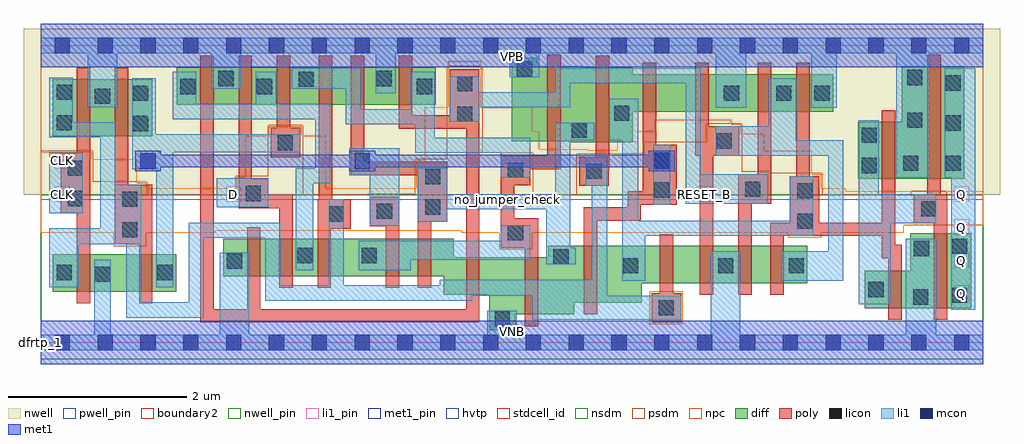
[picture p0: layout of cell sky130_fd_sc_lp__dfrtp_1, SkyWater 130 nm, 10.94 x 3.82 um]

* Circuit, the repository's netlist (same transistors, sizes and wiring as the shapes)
* Copyright 2020 The SkyWater PDK Authors
*
* Licensed under the Apache License, Version 2.0 (the "License");
* you may not use this file except in compliance with the License.
* You may obtain a copy of the License at
*
*     https://www.apache.org/licenses/LICENSE-2.0
*
* Unless required by applicable law or agreed to in writing, software
* distributed under the License is distributed on an "AS IS" BASIS,
* WITHOUT WARRANTIES OR CONDITIONS OF ANY KIND, either express or implied.
* See the License for the specific language governing permissions and
* limitations under the License.
*
* SPDX-License-Identifier: Apache-2.0

.SUBCKT sky130_fd_sc_lp__dfrtp_1 CLK D RESET_B VGND VNB VPB VPWR Q
*.PININFO CLK:I D:I RESET_B:I VGND:I VNB:I VPB:I VPWR:I Q:O
MI46 clkpos clkneg VGND VNB sky130_fd_pr__nfet_01v8 m=1 w=0.42U l=0.15U mult=1
+ sa=0.265 sb=0.265 sd=0.28 area=0.063 perim=1.14
MI42 db clkneg M0 VNB sky130_fd_pr__nfet_01v8 m=1 w=0.42U l=0.15U mult=1 sa=0.265
+ sb=0.265 sd=0.28 area=0.063 perim=1.14
MI656 net86 s0 net116 VNB sky130_fd_pr__nfet_01v8 m=1 w=0.42U l=0.15U mult=1 sa=0.265
+ sb=0.265 sd=0.28 area=0.063 perim=1.14
MI657 net116 RESET_B VGND VNB sky130_fd_pr__nfet_01v8 m=1 w=0.42U l=0.15U mult=1
+ sa=0.265 sb=0.265 sd=0.28 area=0.063 perim=1.14
MI33 net109 RESET_B VGND VNB sky130_fd_pr__nfet_01v8 m=1 w=0.42U l=0.15U mult=1
+ sa=0.265 sb=0.265 sd=0.28 area=0.063 perim=1.14
MI4 M0 clkpos net101 VNB sky130_fd_pr__nfet_01v8 m=1 w=0.42U l=0.15U mult=1 sa=0.265
+ sb=0.265 sd=0.28 area=0.063 perim=1.14
MI34 net101 M1 net109 VNB sky130_fd_pr__nfet_01v8 m=1 w=0.42U l=0.15U mult=1 sa=0.265
+ sb=0.265 sd=0.28 area=0.063 perim=1.14
MI655 s0 clkneg net85 VNB sky130_fd_pr__nfet_01v8 m=1 w=0.42U l=0.15U mult=1 sa=0.265
+ sb=0.265 sd=0.28 area=0.063 perim=1.14
MI652 net153 s0 VGND VNB sky130_fd_pr__nfet_01v8 m=1 w=0.42U l=0.15U mult=1 sa=0.265
+ sb=0.265 sd=0.28 area=0.063 perim=1.14
MI653 Q net153 VGND VNB sky130_fd_pr__nfet_01v8 m=1 w=0.84U l=0.15U mult=1 sa=0.265
+ sb=0.265 sd=0.28 area=0.063 perim=1.14
MI654 net85 net86 VGND VNB sky130_fd_pr__nfet_01v8 m=1 w=0.42U l=0.15U mult=1 sa=0.265
+ sb=0.265 sd=0.28 area=0.063 perim=1.14
MI44 clkneg CLK VGND VNB sky130_fd_pr__nfet_01v8 m=1 w=0.42U l=0.15U mult=1 sa=0.265
+ sb=0.265 sd=0.28 area=0.063 perim=1.14
MI647 M1 M0 VGND VNB sky130_fd_pr__nfet_01v8 m=1 w=0.64U l=0.15U mult=1 sa=0.265
+ sb=0.265 sd=0.28 area=0.063 perim=1.14
MI39 db D net69 VNB sky130_fd_pr__nfet_01v8 m=1 w=0.42U l=0.15U mult=1 sa=0.265
+ sb=0.265 sd=0.28 area=0.063 perim=1.14
MI38 net69 RESET_B VGND VNB sky130_fd_pr__nfet_01v8 m=1 w=0.42U l=0.15U mult=1
+ sa=0.265 sb=0.265 sd=0.28 area=0.063 perim=1.14
MI649 M1 clkpos s0 VNB sky130_fd_pr__nfet_01v8 m=1 w=0.64U l=0.15U mult=1 sa=0.265
+ sb=0.265 sd=0.28 area=0.063 perim=1.14
MI47 clkpos clkneg VPWR VPB sky130_fd_pr__pfet_01v8_hvt m=1 w=0.64U l=0.15U mult=1
+ sa=0.265 sb=0.265 sd=0.28 area=0.063 perim=1.14
MI43 db clkpos M0 VPB sky130_fd_pr__pfet_01v8_hvt m=1 w=0.42U l=0.15U mult=1 sa=0.265
+ sb=0.265 sd=0.28 area=0.063 perim=1.14
MI662 net181 net86 VPWR VPB sky130_fd_pr__pfet_01v8_hvt m=1 w=0.42U l=0.15U mult=1
+ sa=0.265 sb=0.265 sd=0.28 area=0.063 perim=1.14
MI659 net86 RESET_B VPWR VPB sky130_fd_pr__pfet_01v8_hvt m=1 w=0.42U l=0.15U mult=1
+ sa=0.265 sb=0.265 sd=0.28 area=0.063 perim=1.14
MI664 s0 clkpos net181 VPB sky130_fd_pr__pfet_01v8_hvt m=1 w=0.42U l=0.15U mult=1
+ sa=0.265 sb=0.265 sd=0.28 area=0.063 perim=1.14
MI658 net86 s0 VPWR VPB sky130_fd_pr__pfet_01v8_hvt m=1 w=0.42U l=0.15U mult=1
+ sa=0.265 sb=0.265 sd=0.28 area=0.063 perim=1.14
MI30 net160 M1 VPWR VPB sky130_fd_pr__pfet_01v8_hvt m=1 w=0.42U l=0.15U mult=1
+ sa=0.265 sb=0.265 sd=0.28 area=0.063 perim=1.14
MI31 M0 clkneg net160 VPB sky130_fd_pr__pfet_01v8_hvt m=1 w=0.42U l=0.15U mult=1
+ sa=0.265 sb=0.265 sd=0.28 area=0.063 perim=1.14
MI32 M0 RESET_B VPWR VPB sky130_fd_pr__pfet_01v8_hvt m=1 w=0.42U l=0.15U mult=1
+ sa=0.265 sb=0.265 sd=0.28 area=0.063 perim=1.14
MI663 net153 s0 VPWR VPB sky130_fd_pr__pfet_01v8_hvt m=1 w=0.64U l=0.15U mult=1
+ sa=0.265 sb=0.265 sd=0.28 area=0.063 perim=1.14
MI660 Q net153 VPWR VPB sky130_fd_pr__pfet_01v8_hvt m=1 w=1.26U l=0.15U mult=1
+ sa=0.265 sb=0.265 sd=0.28 area=0.063 perim=1.14
MI45 clkneg CLK VPWR VPB sky130_fd_pr__pfet_01v8_hvt m=1 w=0.64U l=0.15U mult=1
+ sa=0.265 sb=0.265 sd=0.28 area=0.063 perim=1.14
MI648 M1 M0 VPWR VPB sky130_fd_pr__pfet_01v8_hvt m=1 w=0.84U l=0.15U mult=1 sa=0.265
+ sb=0.265 sd=0.28 area=0.063 perim=1.14
MI41 db RESET_B VPWR VPB sky130_fd_pr__pfet_01v8_hvt m=1 w=0.42U l=0.15U mult=1
+ sa=0.265 sb=0.265 sd=0.28 area=0.063 perim=1.14
MI40 db D VPWR VPB sky130_fd_pr__pfet_01v8_hvt m=1 w=0.42U l=0.15U mult=1 sa=0.265
+ sb=0.265 sd=0.28 area=0.063 perim=1.14
MI650 M1 clkneg s0 VPB sky130_fd_pr__pfet_01v8_hvt m=1 w=0.84U l=0.15U mult=1 sa=0.265
+ sb=0.265 sd=0.28 area=0.063 perim=1.14
.ENDS sky130_fd_sc_lp__dfrtp_1

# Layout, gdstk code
import gdstk
lib = gdstk.Library(unit=1e-6, precision=1e-09)
def R(c, l, rs):  # rectangles x0, y0, x1, y1
    for r in rs: c.add(gdstk.rectangle(r[:2], r[2:], *l))
def A(c, l, x, y, w, h, nx, ny, dx, dy):  # array of equal rectangles
    R(c, l, [(x+i*dx, y+j*dy, x+i*dx+w, y+j*dy+h) for i in range(nx) for j in range(ny)])
def P(c, l, *ps):  # polygons
    for p in ps: c.add(gdstk.Polygon(p, *l))
nwell_pin = (64, 16)
nwell = (64, 20)
diff = (65, 20)
poly = (66, 20)
licon = (66, 44)
li1_pin = (67, 16)
li1 = (67, 20)
mcon = (67, 44)
met1_pin = (68, 16)
met1 = (68, 20)
hvtp = (78, 44)
stdcell_id = (81, 4)
nsdm = (93, 44)
psdm = (94, 20)
npc = (95, 20)
pwell_pin = (122, 16)
boundary2 = (236, 0)

sky130_fd_sc_lp__dfrtp_1 = lib.new_cell('sky130_fd_sc_lp__dfrtp_1')
R(sky130_fd_sc_lp__dfrtp_1, nwell_pin, [(0,3.085,10.56,3.33)])
R(sky130_fd_sc_lp__dfrtp_1, nwell, [(-0.19,1.655,10.75,3.52)])
R(sky130_fd_sc_lp__dfrtp_1, diff, [(0.135,0.57,1.515,0.99), (0.135,2.31,1.245,2.95), (1.52,2.665,4.425,3.085)])
P(sky130_fd_sc_lp__dfrtp_1, diff, [(8.59,1.085),(5.685,1.085),(5.685,0.955),(4.625,0.955),(4.625,1.165),(2.045,1.165),(2.045,0.745),(4.515,0.745),(4.515,0.535),(5.025,0.535),(5.025,0.135),(5.315,0.135),(5.315,0.315),(5.975,0.315),(5.975,0.445),(6.735,0.445),(6.735,0.665),(8.59,0.665)],
  [(8.88,3.005),(6.635,3.005),(6.635,3.085),(6.075,3.085),(6.075,3.095),(5.565,3.095),(5.565,3.195),(5.275,3.195),(5.275,2.255),(5.935,2.255),(5.935,2.245),(6.635,2.245),(6.635,2.585),(8.88,2.585)],
  [(10.35,3.095),(9.65,3.095),(9.65,2.475),(9.16,2.475),(9.16,1.835),(10.35,1.835)],
  [(10.425,1.225),(9.745,1.225),(9.745,0.805),(9.235,0.805),(9.235,0.385),(10.425,0.385)])
P(sky130_fd_sc_lp__dfrtp_1, poly, [(0.55,3.08),(0.4,3.08),(0.4,2.12),(0.22,2.12),(0.22,1.45),(0.4,1.45),(0.4,0.44),(0.55,0.44)],
  [(1.25,1.77),(0.98,1.77),(0.98,3.08),(0.83,3.08),(0.83,1.1),(1.1,1.1),(1.1,0.44),(1.25,0.44)],
  [(2.82,1.655),(2.545,1.655),(2.545,1.835),(2.365,1.835),(2.365,3.215),(2.215,3.215),(2.215,1.505),(2.67,1.505),(2.67,0.615),(2.82,0.615)],
  [(2.905,2.405),(2.795,2.405),(2.795,3.215),(2.645,3.215),(2.645,2.405),(2.575,2.405),(2.575,2.075),(2.905,2.075)],
  [(3.475,1.605),(3.265,1.605),(3.265,3.215),(3.115,3.215),(3.115,1.605),(3.1,1.605),(3.1,0.615),(3.25,0.615),(3.25,1.275),(3.475,1.275)],
  [(4.015,1.635),(3.685,1.635),(3.685,1.305),(3.865,1.305),(3.865,0.615),(4.015,0.615)],
  [(4.555,2.025),(3.625,2.025),(3.625,3.215),(3.475,3.215),(3.475,1.875),(4.225,1.875),(4.225,0.615),(4.375,0.615),(4.375,1.355),(4.555,1.355)],
  [(4.915,3.065),(4.585,3.065),(4.585,2.545),(4.16,2.545),(4.16,3.215),(4.01,3.215),(4.01,2.395),(4.765,2.395),(4.765,0.375),(2.46,0.375),(2.46,1.295),(2.31,1.295),(2.31,0.375),(1.935,0.375),(1.935,3.215),(1.785,3.215),(1.785,0.225),(4.915,0.225)],
  [(5.825,3.225),(5.675,3.225),(5.675,2.095),(5.155,2.095),(5.155,1.065),(5.425,1.065),(5.425,0.185),(5.575,0.185),(5.575,1.395),(5.305,1.395),(5.305,1.765),(5.485,1.765),(5.485,1.945),(5.825,1.945)],
  [(6.37,3.215),(6.22,3.215),(6.22,2.085),(6.035,2.085),(6.035,1.755),(6.365,1.755),(6.365,1.935),(6.37,1.935)],
  [(7.125,2.215),(6.895,2.215),(6.895,3.135),(6.745,3.135),(6.745,1.695),(6.575,1.695),(6.575,1.515),(6.085,1.515),(6.085,0.315),(6.235,0.315),(6.235,1.365),(6.725,1.365),(6.725,1.545),(7.125,1.545)],
  [(7.175,0.555),(7.085,0.555),(7.085,1.215),(6.935,1.215),(6.935,0.555),(6.845,0.555),(6.845,0.225),(7.175,0.225)],
  [(7.825,2.425),(7.485,2.425),(7.485,3.135),(7.335,3.135),(7.335,2.095),(7.385,2.095),(7.385,0.535),(7.535,0.535),(7.535,2.095),(7.825,2.095)],
  [(8.185,3.135),(8.035,3.135),(8.035,1.885),(7.815,1.885),(7.815,0.535),(7.965,0.535),(7.965,1.555),(8.185,1.555)],
  [(9.65,1.095),(9.575,1.095),(9.575,2.605),(9.425,2.605),(9.425,1.345),(8.725,1.345),(8.725,1.865),(8.615,1.865),(8.615,3.135),(8.465,3.135),(8.465,1.865),(8.395,1.865),(8.395,1.345),(8.175,1.345),(8.175,0.535),(8.325,0.535),(8.325,1.195),(9.425,1.195),(9.425,0.945),(9.5,0.945),(9.5,0.255),(9.65,0.255)],
  [(10.16,1.665),(10.085,1.665),(10.085,3.225),(9.935,3.225),(9.935,1.665),(9.785,1.665),(9.785,1.335),(10.01,1.335),(10.01,0.255),(10.16,0.255)])
A(sky130_fd_sc_lp__dfrtp_1, licon, 10.14, 1.925, 0.17, 0.17, 1, 3, 0, 0.45)
R(sky130_fd_sc_lp__dfrtp_1, licon, [(5.085,0.175,5.255,0.345), (6.925,0.305,7.095,0.475), (9.775,0.425,9.945,0.595), (10.215,0.445,10.385,0.615), (9.275,0.51,9.445,0.68), (0.605,0.68,0.775,0.85), (0.175,0.7,0.345,0.87), (1.305,0.7,1.475,0.87), (6.525,0.775,6.695,0.945), (7.59,0.775,7.76,0.945), (8.38,0.775,8.55,0.945), (2.085,0.825,2.255,0.995), (5.745,0.875,5.915,1.045), (2.875,0.89,3.045,1.06), (3.595,0.89,3.765,1.06), (9.785,0.97,9.955,1.14), (10.215,0.995,10.385,1.165), (5.235,1.145,5.405,1.315), (0.91,1.18,1.08,1.35), (8.475,1.275,8.645,1.445), (3.225,1.355,3.395,1.525), (3.765,1.385,3.935,1.555), (9.865,1.415,10.035,1.585), (4.305,1.435,4.475,1.605), (0.91,1.52,1.08,1.69), (0.3,1.53,0.47,1.7), (2.295,1.585,2.465,1.755), (8.475,1.615,8.645,1.785), (6.875,1.625,7.045,1.795), (7.895,1.635,8.065,1.805), (4.305,1.775,4.475,1.945), (6.115,1.835,6.285,2.005), (5.235,1.845,5.405,2.015), (0.3,1.87,0.47,2.04), (9.2,1.9,9.37,2.07), (9.665,1.925,9.835,2.095), (6.875,1.965,7.045,2.135), (2.655,2.155,2.825,2.325), (7.575,2.175,7.745,2.345), (9.2,2.24,9.37,2.41), (5.95,2.295,6.12,2.465), (1.035,2.37,1.205,2.54), (0.175,2.38,0.345,2.55), (9.71,2.405,9.88,2.575), (4.665,2.475,4.835,2.645), (6.425,2.485,6.595,2.655), (0.605,2.675,0.775,2.845), (1.035,2.71,1.205,2.88), (7.655,2.71,7.825,2.88), (8.24,2.71,8.41,2.88), (8.67,2.71,8.84,2.88), (0.175,2.72,0.345,2.89), (1.56,2.785,1.73,2.955), (2.42,2.785,2.59,2.955), (4.215,2.785,4.385,2.955), (4.665,2.815,4.835,2.985), (2.89,2.865,3.06,3.035), (1.99,2.875,2.16,3.045), (3.76,2.875,3.93,3.045), (9.71,2.885,9.88,3.055), (5.335,2.985,5.505,3.155)])
A(sky130_fd_sc_lp__dfrtp_1, li1_pin, 10.235, 0.47, 0.17, 0.17, 1, 4, 0, 0.37)
R(sky130_fd_sc_lp__dfrtp_1, li1_pin, [(0.155,1.58,0.325,1.75), (2.075,1.58,2.245,1.75), (7.355,1.58,7.525,1.75), (0.155,1.95,0.325,2.12)])
R(sky130_fd_sc_lp__dfrtp_1, li1, [(0.095,1.45,0.47,2.13), (1.97,1.515,2.545,1.84), (6.865,1.545,7.055,2.215)])
P(sky130_fd_sc_lp__dfrtp_1, li1, [(8.16,2.425),(8.16,2.96),(8.465,2.96),(8.465,2.265),(8.995,2.265),(8.995,0.695),(8.3,0.695),(8.3,1.025),(8.825,1.025),(8.825,2.095),(7.565,2.095),(7.565,2.425)],
  [(7.175,0.525),(6.345,0.525),(6.345,2.085),(6.105,2.085),(6.105,1.755),(6.175,1.755),(6.175,0.705),(4.47,0.705),(4.47,0.64),(3.395,0.64),(3.395,1.605),(3.225,1.605),(3.225,0.64),(2.685,0.64),(2.685,1.345),(1.655,1.345),(1.655,0.45),(1.125,0.45),(1.125,1.77),(0.835,1.77),(0.835,2.47),(0.355,2.47),(0.355,2.97),(0.095,2.97),(0.095,2.3),(0.665,2.3),(0.665,1.28),(0.095,1.28),(0.095,0.62),(0.425,0.62),(0.425,1.1),(0.955,1.1),(0.955,0.28),(1.825,0.28),(1.825,1.175),(2.515,1.175),(2.515,0.47),(4.835,0.47),(4.835,0.525),(5.505,0.525),(5.505,0.255),(7.175,0.255)],
  [(1.285,2.335),(2.905,2.335),(2.905,2.135),(1.485,2.135),(1.485,0.62),(1.295,0.62),(1.295,1.94),(1.025,1.94),(1.025,2.96),(1.285,2.96)],
  [(3.755,2.795),(3.755,3.245),(2.24,3.245),(2.24,2.845),(1.91,2.845),(1.91,3.245),(0.855,3.245),(0.855,2.64),(0.525,2.64),(0.525,3.245),(0,3.245),(0,3.415),(10.56,3.415),(10.56,3.245),(9.96,3.245),(9.96,1.845),(9.585,1.845),(9.585,3.245),(8.92,3.245),(8.92,2.63),(8.635,2.63),(8.635,3.245),(7.905,3.245),(7.905,2.63),(7.565,2.63),(7.565,3.245),(5.585,3.245),(5.585,2.975),(5.255,2.975),(5.255,3.245),(3.975,3.245),(3.975,2.795)],
  [(2.005,0.085),(2.005,1.005),(2.335,1.005),(2.335,0.085),(5.005,0.085),(5.005,0.355),(5.335,0.355),(5.335,0.085),(7.51,0.085),(7.51,1.025),(7.84,1.025),(7.84,0.085),(9.695,0.085),(9.695,1.165),(10.035,1.165),(10.035,0.085),(10.56,0.085),(10.56,-0.085),(0,-0.085),(0,0.085),(0.595,0.085),(0.595,0.93),(0.785,0.93),(0.785,0.085)],
  [(10.205,0.365),(10.205,1.845),(10.13,1.845),(10.13,3.075),(10.475,3.075),(10.475,0.365)],
  [(7.225,1.555),(7.225,2.905),(5.935,2.905),(5.935,2.635),(4.915,2.635),(4.915,2.475),(4.585,2.475),(4.585,2.985),(4.915,2.985),(4.915,2.805),(5.765,2.805),(5.765,3.075),(7.395,3.075),(7.395,1.885),(8.145,1.885),(8.145,1.555)],
  [(9.39,1.665),(10.035,1.665),(10.035,1.335),(9.525,1.335),(9.525,0.43),(9.165,0.43),(9.165,2.49),(9.39,2.49)],
  [(5.765,1.665),(5.765,2.465),(6.2,2.465),(6.2,2.265),(5.935,2.265),(5.935,1.065),(5.995,1.065),(5.995,0.875),(5.665,0.875),(5.665,1.495),(4.555,1.495),(4.555,1.355),(4.225,1.355),(4.225,1.955),(4.555,1.955),(4.555,1.665)],
  [(6.515,2.265),(6.37,2.265),(6.37,2.735),(6.695,2.735),(6.695,1.365),(8.395,1.365),(8.395,1.865),(8.655,1.865),(8.655,1.195),(6.775,1.195),(6.775,0.695),(6.515,0.695)],
  [(4.415,2.295),(5.485,2.295),(5.485,1.845),(5.155,1.845),(5.155,2.125),(4.195,2.125),(4.195,2.445),(3.415,2.445),(3.415,2.845),(2.81,2.845),(2.81,3.075),(3.585,3.075),(3.585,2.615),(4.145,2.615),(4.145,3.035),(4.415,3.035)],
  [(2.64,2.675),(3.245,2.675),(3.245,1.785),(3.055,1.785),(3.055,0.81),(2.855,0.81),(2.855,1.955),(3.075,1.955),(3.075,2.505),(1.48,2.505),(1.48,3.035),(1.74,3.035),(1.74,2.675),(2.41,2.675),(2.41,3.035),(2.64,3.035)],
  [(5.485,1.315),(5.155,1.315),(5.155,1.14),(3.565,1.14),(3.565,0.81),(4.145,0.81),(4.145,0.93),(5.485,0.93)],
  [(3.685,1.875),(3.455,1.875),(3.455,2.18),(4.015,2.18),(4.015,1.31),(3.685,1.31)])
A(sky130_fd_sc_lp__dfrtp_1, mcon, 0.155, -0.085, 0.17, 0.17, 22, 2, 0.48, 3.33)
R(sky130_fd_sc_lp__dfrtp_1, mcon, [(1.115,1.95,1.285,2.12), (3.515,1.95,3.685,2.12), (6.875,1.95,7.045,2.12)])
R(sky130_fd_sc_lp__dfrtp_1, met1_pin, [(0,0,10.56,0.245), (0,3.085,10.56,3.33)])
R(sky130_fd_sc_lp__dfrtp_1, met1, [(0,-0.245,10.56,0.245), (0,3.085,10.56,3.575)])
P(sky130_fd_sc_lp__dfrtp_1, met1, [(3.745,2.105),(6.815,2.105),(6.815,2.15),(7.105,2.15),(7.105,1.92),(6.815,1.92),(6.815,1.965),(3.745,1.965),(3.745,1.92),(3.455,1.92),(3.455,1.965),(1.345,1.965),(1.345,1.92),(1.055,1.92),(1.055,2.15),(1.345,2.15),(1.345,2.105),(3.455,2.105),(3.455,2.15),(3.745,2.15)])
R(sky130_fd_sc_lp__dfrtp_1, hvtp, [(0,1.6,10.56,3.33)])
R(sky130_fd_sc_lp__dfrtp_1, stdcell_id, [(0,0,10.56,3.33)])
R(sky130_fd_sc_lp__dfrtp_1, nsdm, [(0,-0.19,10.56,1.655)])
P(sky130_fd_sc_lp__dfrtp_1, psdm, [(10.56,3.52),(0,3.52),(0,2.15),(0.58,2.15),(0.58,1.8),(1.19,1.8),(1.19,1.655),(2.185,1.655),(2.185,1.865),(2.545,1.865),(2.545,2.435),(2.935,2.435),(2.935,1.655),(3.655,1.655),(3.655,1.665),(4.195,1.665),(4.195,2.055),(4.555,2.055),(4.555,3.095),(4.945,3.095),(4.945,2.125),(5.515,2.125),(5.515,1.655),(6.005,1.655),(6.005,2.115),(6.765,2.115),(6.765,2.245),(7.465,2.245),(7.465,2.455),(7.855,2.455),(7.855,1.915),(8.175,1.915),(8.175,1.895),(8.755,1.895),(8.755,1.655),(9.755,1.655),(9.755,1.695),(10.145,1.695),(10.145,1.655),(10.56,1.655)])
R(sky130_fd_sc_lp__dfrtp_1, npc, [(6.825,0.205,7.195,0.575)])
P(sky130_fd_sc_lp__dfrtp_1, npc, [(10.56,1.695),(9.02,1.695),(9.02,1.73),(8.745,1.73),(8.745,1.885),(8.64,1.885),(8.64,2.15),(8.11,2.15),(8.11,2.34),(7.845,2.34),(7.845,2.445),(7.74,2.445),(7.74,2.495),(6.88,2.495),(6.88,2.37),(6.685,2.37),(6.685,2.255),(6.46,2.255),(6.46,2.155),(6.13,2.155),(6.13,2.165),(5.585,2.165),(5.585,2.37),(5.505,2.37),(5.505,2.635),(5.2,2.635),(5.2,2.64),(4.935,2.64),(4.935,3.155),(4.565,3.155),(4.565,2.64),(4.475,2.64),(4.475,2.635),(4.3,2.635),(4.3,2.045),(4.205,2.045),(4.205,1.73),(3.19,1.73),(3.19,2.32),(2.925,2.32),(2.925,2.425),(2.555,2.425),(2.555,2.32),(2.29,2.32),(2.29,1.855),(2.195,1.855),(2.195,1.73),(1.18,1.73),(1.18,1.79),(1.075,1.79),(1.075,2.055),(0.57,2.055),(0.57,2.14),(0,2.14),(0,1.23),(0.81,1.23),(0.81,1.08),(1.18,1.08),(1.18,1.23),(1.955,1.23),(1.955,1.255),(4.715,1.255),(4.715,1.23),(5.135,1.23),(5.135,1.045),(5.505,1.045),(5.505,1.23),(8.375,1.23),(8.375,1.175),(8.745,1.175),(8.745,1.23),(9.67,1.23),(9.67,1.315),(10.56,1.315)])
R(sky130_fd_sc_lp__dfrtp_1, pwell_pin, [(0,0,10.56,0.245)])
R(sky130_fd_sc_lp__dfrtp_1, boundary2, [(0,0,10.56,3.33)])
sky130_fd_sc_lp__dfrtp_1.add(gdstk.Label('VNB', (5.28,0.123), layer=64, texttype=59))
sky130_fd_sc_lp__dfrtp_1.add(gdstk.Label('VPB', (5.28,3.208), layer=64, texttype=5))
sky130_fd_sc_lp__dfrtp_1.add(gdstk.Label('dfrtp_1', (0,0), layer=83, texttype=44))
sky130_fd_sc_lp__dfrtp_1.add(gdstk.Label('no_jumper_check', (5.225,1.605), layer=83, texttype=44))
sky130_fd_sc_lp__dfrtp_1.add(gdstk.Label('VPWR', (5.28,3.208), layer=68, texttype=5))
sky130_fd_sc_lp__dfrtp_1.add(gdstk.Label('VGND', (5.28,0.123), layer=68, texttype=5))
sky130_fd_sc_lp__dfrtp_1.add(gdstk.Label('CLK', (0.24,1.665), layer=67, texttype=5))
sky130_fd_sc_lp__dfrtp_1.add(gdstk.Label('CLK', (0.24,2.035), layer=67, texttype=5))
sky130_fd_sc_lp__dfrtp_1.add(gdstk.Label('D', (2.16,1.665), layer=67, texttype=5))
sky130_fd_sc_lp__dfrtp_1.add(gdstk.Label('Q', (10.32,0.555), layer=67, texttype=5))
sky130_fd_sc_lp__dfrtp_1.add(gdstk.Label('Q', (10.32,0.925), layer=67, texttype=5))
sky130_fd_sc_lp__dfrtp_1.add(gdstk.Label('Q', (10.32,1.295), layer=67, texttype=5))
sky130_fd_sc_lp__dfrtp_1.add(gdstk.Label('Q', (10.32,1.665), layer=67, texttype=5))
sky130_fd_sc_lp__dfrtp_1.add(gdstk.Label('RESET_B', (7.44,1.665), layer=67, texttype=5))

lib.write_gds('sky130_fd_sc_lp__dfrtp_1.gds')
